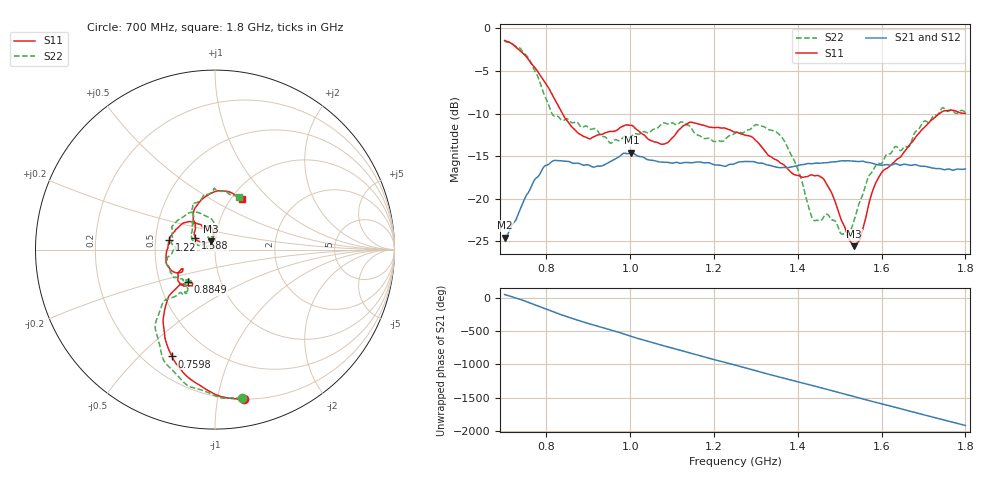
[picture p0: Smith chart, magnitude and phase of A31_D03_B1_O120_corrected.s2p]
! Created with skrf 1.9.0 (http://scikit-rf.org).
# Hz S RI R 50.0
!freq ReS11 ImS11 ReS21 ImS21 ReS12 ImS12 ReS22 ImS22
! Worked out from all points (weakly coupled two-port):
!   1601 points, 700 MHz to 1.8 GHz, reference 50 ohm
!   highest |S21| = -14.60 dB at 1.002 GHz (marker M1); lowest = -24.6 dB at 701.4 MHz (marker M2)
!   lowest |S11| = -25.6 dB at 1.535 GHz (marker M3), VSWR 1.11, Z = 47.5 + j4.48 ohm
!   |S11| at or under -10 dB: 838 MHz to 1.738 GHz (900.1 MHz wide, 69.9 % of centre)
!   |S22| runs from -24.3 to -1.5 dB; largest |S21 - S12| = 0.0034
!   S11 on the Smith chart (normalised r, x): 700 MHz: 0.20, -1.19; 759.8 MHz: 0.31, -0.63; 884.9 MHz: 0.70, -0.27; 1.22 GHz: 0.59, +0.07; 1.588 GHz: 0.80, +0.10; 1.8 GHz: 1.12, +0.70
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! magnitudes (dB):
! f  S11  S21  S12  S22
! 700 MHz  -1.4  -24.5  -24.3  -1.5
! 701.4 MHz  -1.4  -24.6  -24.2  -1.5
! 759.8 MHz  -3.9  -19.0  -18.9  -3.7
! 814.8 MHz  -7.9  -15.6  -15.6  -10.1
! 883.6 MHz  -12.5  -16.0  -15.9  -11.6
! 884.9 MHz  -12.6  -16.0  -15.9  -11.6
! 953 MHz  -12.1  -15.6  -15.6  -13.5
! 1.002 GHz  -11.4  -14.6  -14.7  -12.7
! 1.067 GHz  -13.4  -15.7  -15.6  -11.6
! 1.143 GHz  -11.0  -15.8  -15.7  -11.5
! 1.22 GHz  -11.7  -16.1  -16.2  -13.3
! 1.25 GHz  -12.2  -15.9  -15.8  -12.3
! 1.357 GHz  -15.8  -16.3  -16.3  -12.5
! 1.399 GHz  -17.2  -16.1  -16.1  -16.4
! 1.434 GHz  -17.2  -15.9  -15.8  -22.2
! 1.466 GHz  -18.0  -15.8  -15.8  -21.9
! 1.515 GHz  -23.7  -15.6  -15.5  -24.2
! 1.535 GHz  -25.6  -15.6  -15.6  -22.5
! 1.588 GHz  -18.0  -16.0  -16.0  -16.0
! 1.617 GHz  -16.3  -16.0  -16.0  -14.7
! 1.74 GHz  -9.9  -16.5  -16.5  -9.7
! 1.8 GHz  -10.0  -16.5  -16.5  -9.8
